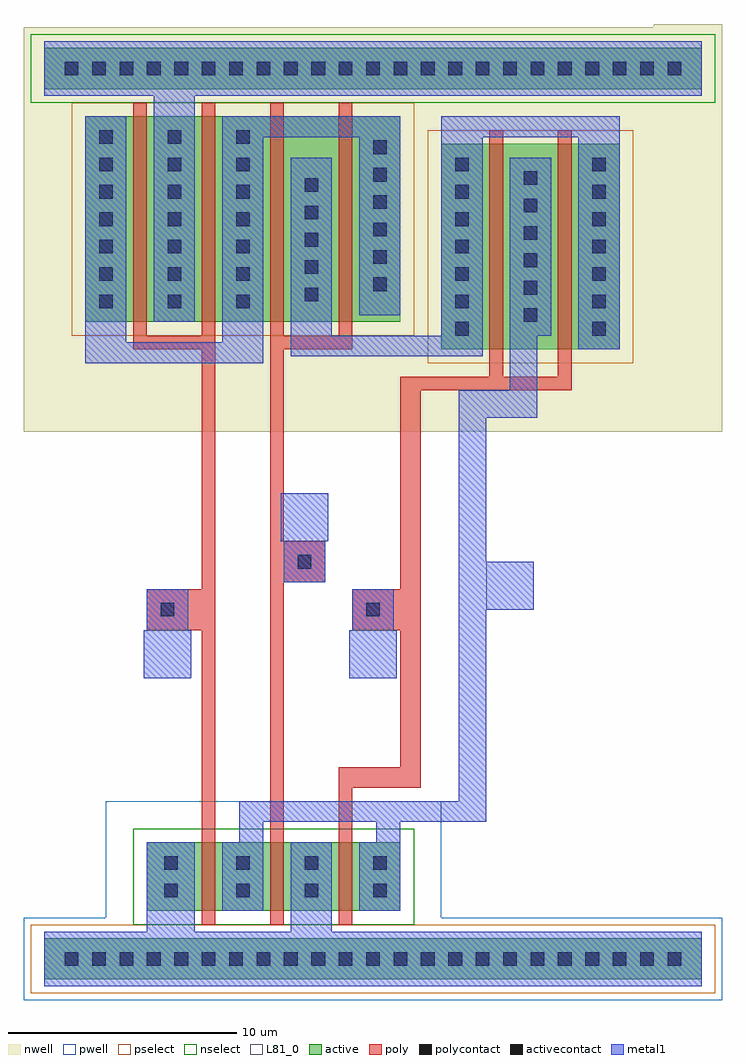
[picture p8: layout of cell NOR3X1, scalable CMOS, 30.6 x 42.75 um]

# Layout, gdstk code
import gdstk
lib = gdstk.Library(unit=1e-6, precision=1e-09)
def R(c, l, rs):  # rectangles x0, y0, x1, y1
    for r in rs: c.add(gdstk.rectangle(r[:2], r[2:], *l))
def A(c, l, x, y, w, h, nx, ny, dx, dy):  # array of equal rectangles
    R(c, l, [(x+i*dx, y+j*dy, x+i*dx+w, y+j*dy+h) for i in range(nx) for j in range(ny)])
pwell = (41, 0)
nwell = (42, 0)
active = (43, 0)
pselect = (44, 0)
nselect = (45, 0)
poly = (46, 0)
polycontact = (47, 0)
activecontact = (48, 0)
metal1 = (49, 0)
L81_0 = (81, 0)

nor3x1 = lib.new_cell('NOR3X1')
R(nor3x1, pwell, [(-1.8,-1.8,28.8,1.8), (1.8,1.8,16.5,6.9)])
R(nor3x1, nwell, [(-1.8,23.1,28.8,40.8), (25.8,40.8,28.8,40.95)])
R(nor3x1, active, [(-0.9,-0.9,27.9,0.9), (3.6,2.1,14.7,5.1), (16.5,26.7,24.3,35.7), (0.9,27.9,14.7,36.9), (-0.9,38.1,27.9,39.9)])
R(nor3x1, pselect, [(-1.5,-1.5,28.5,1.5), (15.9,26.1,24.9,36.3), (0.3,27.3,15.3,37.5)])
R(nor3x1, nselect, [(3,1.5,15.3,5.7), (-1.5,37.5,28.5,40.5)])
A(nor3x1, poly, 3, 27.3, 0.6, 10.2, 4, 1, 3, 0)
R(nor3x1, poly, [(6,1.5,6.6,14.4), (9,1.5,9.6,16.5), (12,1.5,12.6,7.5), (12,7.5,15.6,8.4), (14.7,8.4,15.6,14.4), (3.6,14.4,6.6,16.2), (12.6,14.4,15.6,16.2), (6,16.2,6.6,26.7), (14.7,16.2,15.6,24.9), (9,16.5,11.4,18.3), (9,18.3,9.6,26.7), (14.7,24.9,22.2,25.5), (18.6,25.5,19.2,36.3), (21.6,25.5,22.2,36.3), (3,26.7,6.6,27.3), (9,26.7,12.6,27.3)])
R(nor3x1, polycontact, [(4.2,15,4.8,15.6), (13.2,15,13.8,15.6), (10.2,17.1,10.8,17.7)])
A(nor3x1, activecontact, 0, -0.3, 0.6, 0.6, 23, 2, 1.2, 39)
A(nor3x1, activecontact, 7.5, 2.7, 0.6, 0.6, 3, 2, 3, 1.2)
A(nor3x1, activecontact, 17.1, 27.3, 0.6, 0.6, 1, 7, 0, 1.2)
A(nor3x1, activecontact, 23.1, 27.3, 0.6, 0.6, 1, 7, 0, 1.2)
A(nor3x1, activecontact, 20.1, 27.9, 0.6, 0.6, 1, 6, 0, 1.2)
A(nor3x1, activecontact, 1.5, 28.5, 0.6, 0.6, 3, 7, 3, 1.2)
A(nor3x1, activecontact, 10.5, 28.8, 0.6, 0.6, 1, 5, 0, 1.2)
A(nor3x1, activecontact, 13.5, 29.25, 0.6, 0.6, 1, 6, 0, 1.2)
R(nor3x1, activecontact, [(4.35,2.7,4.95,3.3), (4.35,3.9,4.95,4.5)])
R(nor3x1, metal1, [(-0.9,-1.2,27.9,1.2), (3.6,1.2,5.7,5.1), (9.9,1.2,11.7,5.1), (6.9,2.1,8.7,5.1), (12.9,2.1,14.7,5.1), (7.65,5.1,8.7,6), (13.65,5.1,14.7,6), (7.65,6,18.45,6.9), (17.25,6.9,18.45,15.3), (3.45,12.3,5.55,14.4), (12.45,12.3,14.55,14.4), (3.6,14.4,5.4,16.2), (12.6,14.4,14.4,16.2), (17.25,15.3,20.55,17.4), (9.6,16.5,11.4,18.3), (17.25,17.4,18.45,23.7), (9.45,18.3,11.55,20.4), (17.25,23.7,20.7,24.9), (19.5,24.9,20.7,27.3), (0.9,26.1,8.7,27), (9.9,26.4,18.3,27.3), (22.5,26.7,24.3,36), (0.9,27,2.7,36.9), (6.9,27,8.7,36), (9.9,27.3,11.7,35.1), (16.5,27.3,18.3,36), (19.5,27.3,21.3,35.1), (3.9,27.9,5.7,37.8), (12.9,28.2,14.7,36), (6.9,36,14.7,36.9), (16.5,36,24.3,36.9), (-0.9,37.8,27.9,40.2)])
R(nor3x1, L81_0, [(3.45,12.3,5.55,14.4), (12.45,12.3,14.55,14.4), (18.45,15.3,20.55,17.4), (9.45,18.3,11.55,20.4)])

lib.write_gds('NOR3X1.gds')
